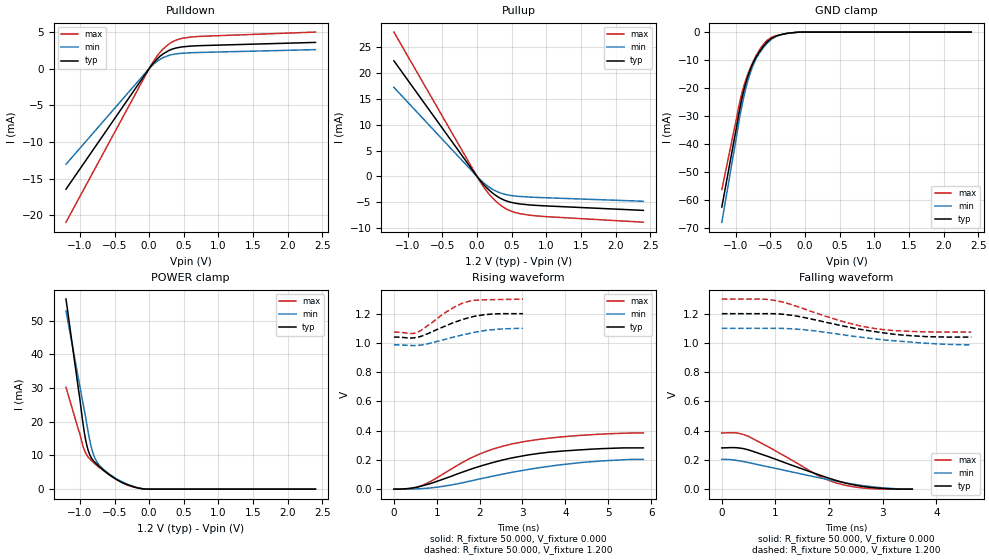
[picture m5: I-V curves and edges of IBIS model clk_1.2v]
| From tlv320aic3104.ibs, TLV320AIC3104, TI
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[Model]   clk_1.2v
Model_type I/O
Vinh=1.100E+00
Vinl=3.600E-01
Vref=0.000E+00
Rref=1.000E+06
Cref=0.000E+00
Vmeas=9.000E-01
C_comp   6.650E-13   6.560E-13   6.720E-13
[Voltage Range]   1.200E+00   1.100E+00   1.300E+00
[POWER Clamp Reference]   1.200E+00   1.100E+00   1.300E+00
[GND Clamp Reference]   0.000E+00   0.000E+00   0.000E+00
[Pullup Reference]   1.200E+00   1.100E+00   1.300E+00
[Pulldown Reference]   0.000E+00   0.000E+00   0.000E+00
[Temperature Range]   25   85   -40
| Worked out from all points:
|   slope of the pulldown table from 0 to 0.18 V, typ, clamps not added: 97.5 ohm
|   slope of the pullup table from 0 to 0.18 V, typ, clamps not added: 66.8 ohm
|   GND clamp passes 1 mA (typ) near -0.36 V on its own axis
|   POWER clamp passes 1 mA (typ) near -0.27 V on its own axis
|   rising waveform, R_fixture 50.000, V_fixture 0.000: 20-80 % time 1.94ns typ, 2.24ns min, 1.73ns max; typ from 0 V to 0.282 V
|   falling waveform, R_fixture 50.000, V_fixture 0.000: 20-80 % time 1.32ns typ, 1.6ns min, 1.12ns max; typ from 0.282 V to 0 V
|   rising waveform, R_fixture 50.000, V_fixture 1.200: 20-80 % time 833ps typ, 972ps min, 683ps max; typ from 1.04 V to 1.2 V
|   falling waveform, R_fixture 50.000, V_fixture 1.200: 20-80 % time 1.34ns typ, 1.56ns min, 1.19ns max; typ from 1.2 V to 1.04 V
[GND Clamp]
-1.2V     -62.45mA   -67.87mA   -56.23mA
-1V       -35.62mA   -39.1mA    -32.32mA
-940mV    -27.29mA   -30.2mA    -24.82mA
-900mV    -22.58mA   -25.09mA   -20.8mA
-840mV    -16.99mA   -18.76mA   -16.05mA
-780mV    -12.81mA   -13.94mA   -12.29mA
-700mV    -8.663mA   -9.284mA   -8.193mA
-580mV    -4.44mA    -4.94mA    -3.784mA
-480mV    -2.159mA   -2.499mA   -1.852mA
-340mV    -870.2uA   -896.8uA   -849.1uA
-60mV     0A         0A         0A
2.4V      0A         0A         0A
[Power Clamp]
-1.2V     56.39mA    52.83mA    30.21mA
-1V       26.83mA    30.53mA    16.42mA
-960mV    20.26mA    26.07mA    13.14mA
-920mV    14.96mA    21.78mA    10.86mA
-900mV    13.01mA    19.32mA    10.12mA
-840mV    9.481mA    12.9mA     8.628mA
-780mV    7.881mA    9.097mA    7.463mA
-720mV    6.721mA    7.144mA    6.425mA
-600mV    4.651mA    4.89mA     4.604mA
-320mV    1.362mA    1.526mA    1.283mA
-60mV     40.33uA    46.71uA    38.38uA
2.4V      0A         0A         0A
[Pullup]
-1.2V     22.41mA    17.27mA    27.98mA
20mV      -358.6uA   -271.3uA   -453.5uA
160mV     -2.443mA   -1.92mA    -3.199mA
320mV     -4.101mA   -3.109mA   -5.362mA
400mV     -4.622mA   -3.448mA   -6.119mA
480mV     -4.975mA   -3.658mA   -6.653mA
620mV     -5.321mA   -3.873mA   -7.213mA
760mV     -5.511mA   -3.991mA   -7.498mA
2.4V      -6.565mA   -4.799mA   -8.854mA
[Pulldown]
-1.2V     -16.45mA   -13.05mA   -20.95mA
0V        0A         0A         0A
80mV      947uA      728.5uA    1.234mA
140mV     1.532mA    1.16mA     2.022mA
200mV     1.991mA    1.484mA    2.658mA
280mV     2.439mA    1.781mA    3.307mA
400mV     2.829mA    2.016mA    3.912mA
600mV     3.06mA     2.154mA    4.291mA
2.4V      3.566mA    2.58mA     4.973mA
[Rising Waveform]
R_fixture = 50.000
V_fixture = 0.000
V_fixture_min = 0.000
V_fixture_max = 0.000
|  time   V(typ)   V(min)   V(max)
0s        0V         0V         0V
360ps     5.397mV    641.7uV    2.805mV
630ps     20.69mV    3.409mV    21.95mV
1.1ns     63.25mV    17.52mV    95.01mV
1.82ns    139.1mV    57.85mV    216.5mV
2.33ns    183.9mV    90.29mV    275.9mV
2.79ns    215.8mV    117.3mV    311.5mV
3.62ns    252.8mV    156.2mV    348.6mV
4.38ns    269.4mV    182.3mV    368.5mV
5.82ns    282.2mV    203.5mV    384.6mV
[Falling Waveform]
R_fixture = 50.000
V_fixture = 0.000
V_fixture_min = 0.000
V_fixture_max = 0.000
|  time   V(typ)   V(min)   V(max)
0s        282.2mV    203.5mV    384.6mV
290ps     283mV      195.9mV    383.5mV
500ps     268.3mV    181.5mV    360.5mV
940ps     213.1mV    146.9mV    274.7mV
1.78ns    102mV      80.65mV    96.73mV
2.14ns    58.62mV    54.15mV    41.88mV
2.39ns    34.75mV    37.54mV    20.21mV
2.74ns    13.46mV    19.22mV    4.99mV
3.18ns    1.625mV    4.442mV    11.97uV
3.55ns    0V         0V         0V
[Rising Waveform]
R_fixture = 50.000
V_fixture = 1.200
V_fixture_min = 1.100
V_fixture_max = 1.300
|  time   V(typ)   V(min)   V(max)
0s        1.04V      987.2mV    1.074V
380ps     1.033V     982.7mV    1.064V
540ps     1.038V     982.7mV    1.072V
710ps     1.054V     989.5mV    1.102V
1.23ns    1.119V     1.027V     1.214V
1.56ns    1.156V     1.052V     1.267V
1.74ns    1.172V     1.064V     1.284V
1.86ns    1.181V     1.071V     1.291V
2.25ns    1.197V     1.089V     1.296V
3.01ns    1.2V       1.1V       1.3V
[Falling Waveform]
R_fixture = 50.000
V_fixture = 1.200
V_fixture_min = 1.100
V_fixture_max = 1.300
|  time   V(typ)   V(min)   V(max)
0s        1.2V       1.1V       1.3V
710ps     1.2V       1.1V       1.3V
1.03ns    1.199V     1.1V       1.288V
1.47ns    1.179V     1.092V     1.242V
2.19ns    1.121V     1.059V     1.153V
2.58ns    1.093V     1.04V      1.116V
2.89ns    1.075V     1.026V     1.096V
3.24ns    1.058V     1.014V     1.084V
3.81ns    1.043V     997.7mV    1.076V
4.65ns    1.04V      987.2mV    1.074V
[Ramp]
dV/dt_r   1.6978E-01/1.9358E-09   1.2143E-01/2.2347E-09   2.3151E-01/1.7320E-09
dV/dt_f   9.5992E-02/1.3363E-09   1.2600E+00/1.5366E-09   1.3555E-01/1.1881E-09
R_load = 50
